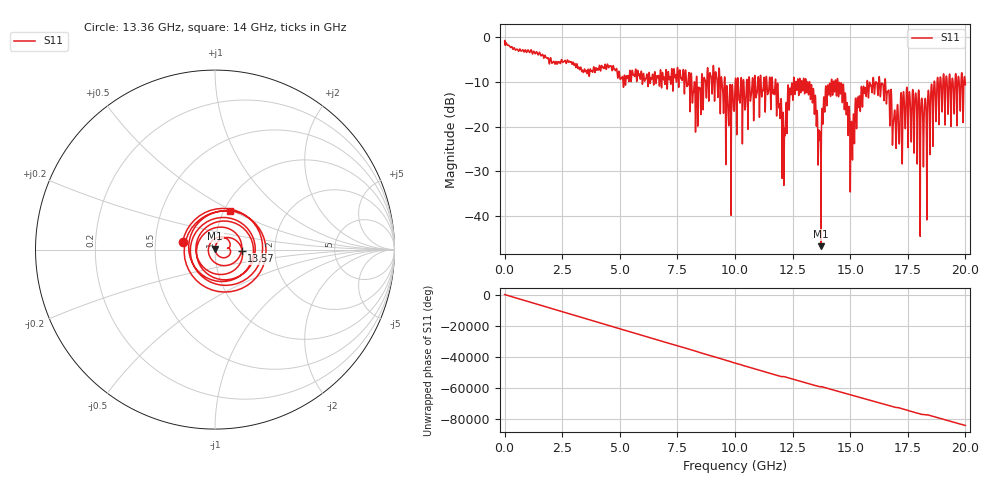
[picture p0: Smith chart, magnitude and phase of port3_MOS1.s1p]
! MS46122B
! 2250307/22442219
! 6/14/2025 10:21:35 AM
! C:\USERS\SPARKY\DOCUMENTS\VNA_DATA\JUNE14_2025\295K\PORT3_MOS1.S1P
! CHANNEL.1
! TR.MEASUREMENT
! RAW.DATA
# GHZ S RI R 50.0
! FREQ.GHZ  S11RE  S11IM
!; PortSelection: Port_1
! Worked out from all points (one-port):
!   10001 points, 1 MHz to 20 GHz, reference 50 ohm
!   lowest |S11| = -46.8 dB at 13.73 GHz (marker M1), VSWR 1.01, Z = 50.1 + j0.447 ohm
!   |S11| at or under -10 dB: 13.24 GHz to 14.18 GHz (941.1 MHz wide, 6.87 % of centre); 14.46 GHz to 15.73 GHz (1.268 GHz wide, 8.4 % of centre); 16.53 GHz to 18.64 GHz (2.111 GHz wide, 12 % of centre) (the widest 3 of 74)
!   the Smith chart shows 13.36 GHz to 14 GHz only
!   S11 on the Smith chart (normalised r, x): 13.36 GHz: 0.69, +0.06; 13.57 GHz: 1.35, -0.02; 14 GHz: 1.07, +0.48
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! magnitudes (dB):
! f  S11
! 1 MHz  -1.0
! 2.501 GHz  -5.3
! 5.001 GHz  -8.9
! 7.501 GHz  -6.8
! 8.449 GHz  -11.6
! 9.129 GHz  -11.0
! 9.759 GHz  -13.1
! 10 GHz  -11.3
! 11.68 GHz  -11.8
! 12.12 GHz  -29.0
! 12.5 GHz  -13.5
! 13.36 GHz  -14.6
! 13.57 GHz  -16.6
! 13.65 GHz  -21.3
! 13.73 GHz  -46.8
! 14 GHz  -12.8
! 14.62 GHz  -10.4
! 15 GHz  -31.7
! 15.09 GHz  -26.4
! 15.41 GHz  -13.4
! 15.92 GHz  -11.2
! 16.59 GHz  -13.5
! 16.92 GHz  -16.6
! 17.5 GHz  -19.2
! 18.19 GHz  -25.0
! 18.25 GHz  -13.7
! 18.72 GHz  -18.8
! 20 GHz  -10.7
